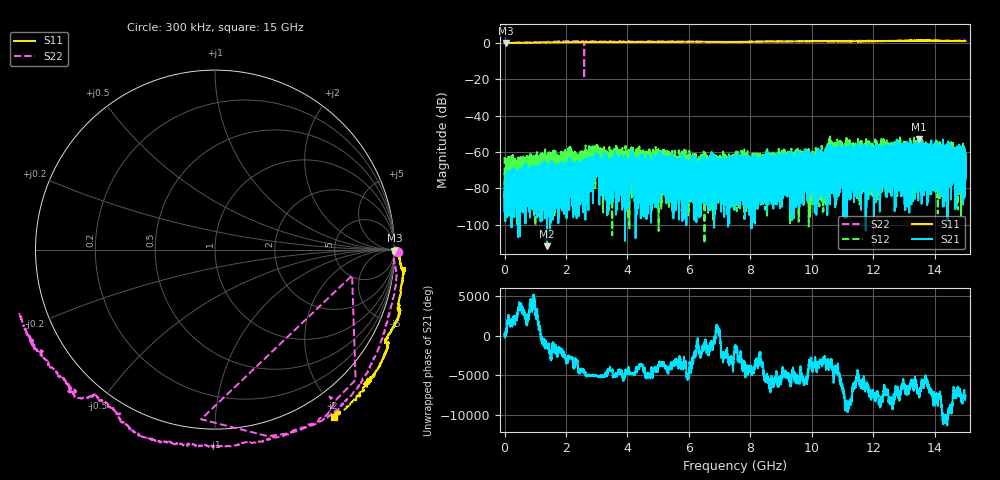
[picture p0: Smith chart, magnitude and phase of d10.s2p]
!Agilent Technologies,N5230C,SG49000117,A.08.50.07
!Agilent N5230C: A.08.50.07
!Date: Friday, May 17, 2024 07:58:03
!Correction: S11(Full 2 Port(1,2))
!S21(Full 2 Port(1,2))
!S12(Full 2 Port(1,2))
!S22(Full 2 Port(1,2))
!S2P File: Measurements: S11, S21, S12, S22:
# Hz S  MA  R 50
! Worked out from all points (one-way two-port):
!   20001 points, 300 kHz to 15 GHz, reference 50 ohm
!   highest |S21| = -53.04 dB at 13.48 GHz (marker M1); lowest = -111.9 dB at 1.383 GHz (marker M2)
!   lowest |S11| = 0.0 dB at 41.55 MHz (marker M3)
!   |S11| at or under -10 dB: nowhere
!   |S22| runs from -19.4 to 1.4 dB; largest |S21 - S12| = 0.0038
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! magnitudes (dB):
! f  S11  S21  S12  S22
! 300 kHz  0.0  -84.9  -62.7  0.2
! 41.55 MHz  0.0  -76.3  -79.1  0.0
! 1.383 GHz  0.3  -111.9  -74.7  0.7
! 2.501 GHz  0.5  -72.2  -68.2  1.0
! 3.002 GHz  0.5  -62.5  -61.8  0.8
! 3.353 GHz  0.5  -74.8  -70.7  0.8
! 3.602 GHz  0.5  -71.2  -61.1  0.8
! 3.986 GHz  0.5  -78.6  -69.3  0.8
! 4.151 GHz  0.6  -65.0  -62.3  0.8
! 4.331 GHz  0.6  -78.3  -67.0  0.8
! 4.828 GHz  0.7  -73.4  -77.7  0.8
! 5 GHz  0.7  -65.4  -63.3  0.9
! 5.624 GHz  0.7  -69.8  -63.9  1.0
! 7.5 GHz  0.7  -71.9  -76.0  0.5
! 10 GHz  1.0  -74.2  -66.0  1.0
! 10.42 GHz  1.1  -69.9  -64.8  1.0
! 10.61 GHz  1.0  -64.8  -61.9  1.1
! 12.5 GHz  1.2  -62.4  -68.4  1.1
! 13.48 GHz  1.3  -53.0  -55.2  1.2
! 14.56 GHz  1.1  -77.0  -67.7  1.4
! 14.92 GHz  1.1  -64.9  -60.7  1.3
! 15 GHz  1.2  -66.2  -74.1  1.3
